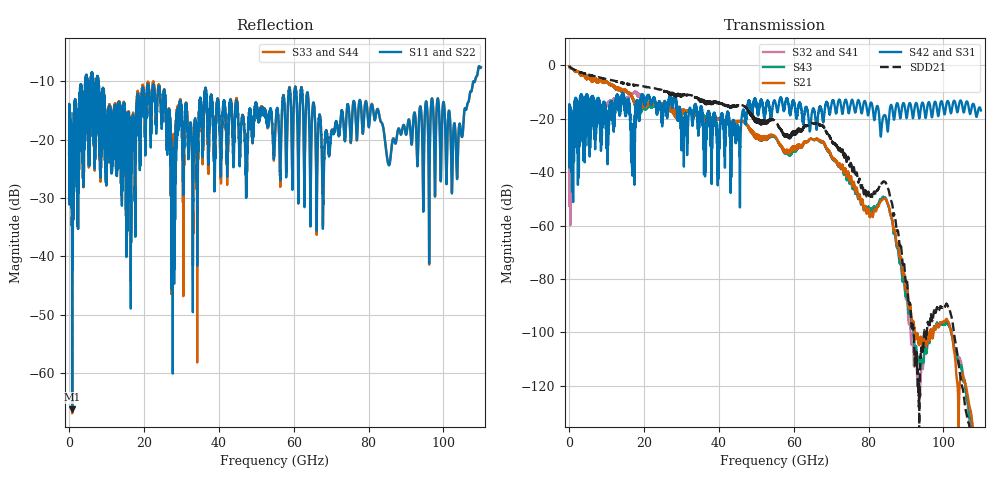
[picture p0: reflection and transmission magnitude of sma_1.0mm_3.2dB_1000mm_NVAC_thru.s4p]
!4 port subset of full cascaded channels using these ports:3 1 4 2
# Hz S RI R 50
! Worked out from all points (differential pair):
!   11000 points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, 10 MHz to 110 GHz, reference 50 ohm
!   strongest paths, dB at 10 MHz, 27.51 GHz, 55.01 GHz, 82.51 GHz, 110 GHz:
!     S42: -24.5, -15.6, -13.4, -15.6, -16.8
!     S31: -24.5, -15.6, -13.4, -15.6, -16.8
!     S21: -0.3, -16.2, -26.5, -52.9, -
!     S43: -0.3, -16.3, -27.0, -52.2, -
!     S32: -37.4, -16.1, -26.7, -52.5, -
!     S41: -37.4, -16.1, -26.7, -52.5, -
!   taken as a pair (ports 1,3 in; 2,4 out), SDD21 dB: -0.2, -10.3, -20.7, -46.5, -
!   lowest |S11| = -66.2 dB at 820 MHz (marker M1), VSWR 1.00, Z = 50 - j0.0413 ohm
!   |S11| at or under -10 dB: start of sweep to 4.374 GHz; 6.432 GHz to 7.271 GHz (838.8 MHz wide, 12.2 % of centre); 7.863 GHz to 108.4 GHz (100.5 GHz wide, 173 % of centre) (the widest 3 of 19)
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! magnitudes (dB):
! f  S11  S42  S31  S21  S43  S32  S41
! 10 MHz  -22.6  -24.5  -24.5  -0.3  -0.3  -37.4  -37.4
! 820 MHz  -66.2  -29.0  -29.0  -1.2  -1.2  -28.9  -29.0
! 17.42 GHz  -21.9  -21.3  -21.3  -13.4  -13.9  -10.2  -10.2
! 66.31 GHz  -24.3  -21.1  -21.1  -27.6  -27.8  -27.7  -27.7
! 84.58 GHz  -21.2  -19.2  -19.2  -50.0  -49.7  -49.9  -49.8
! 89.52 GHz  -17.6  -14.5  -14.5  -78.2  -81.0  -81.1  -81.0
! 110 GHz  -7.6  -16.8  -16.8  -  -  -  -
